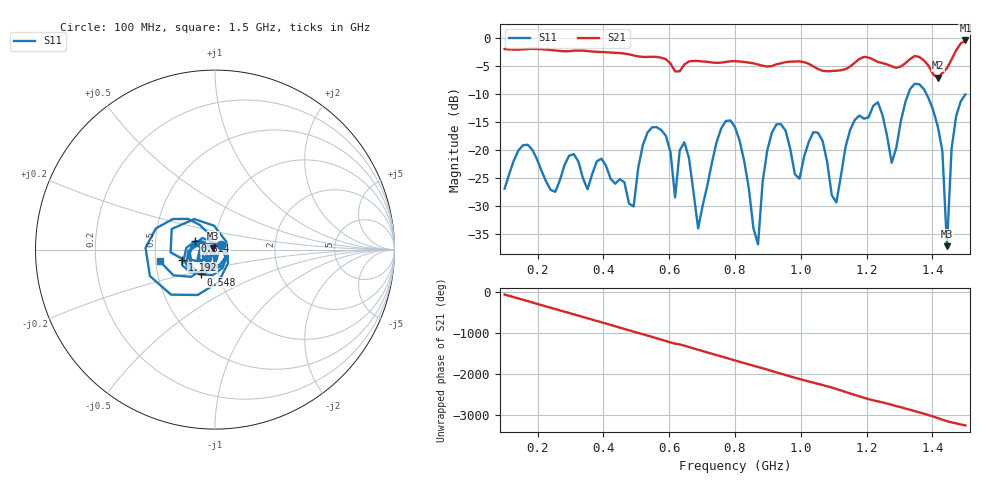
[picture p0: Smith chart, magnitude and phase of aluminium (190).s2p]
! NanoVNA-App
! Date: 2025-09-25 14:56:45
! Start: 100MHz Stop: 1,5GHz Points: 101
! S-Parameter data: F S11 S21 S12 S22
# Hz S RI R 50
!  Frequency  S11_Real  S11_Imag  S21_Real  S21_Imag  S12_Real  S12_Imag  S22_Real  S22_Imag
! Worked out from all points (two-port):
!   101 points, 100 MHz to 1.5 GHz, reference 50 ohm
!   highest |S21| = -0.39 dB at 1.5 GHz (marker M1); lowest = -7.1 dB at 1.416 GHz (marker M2)
!   |S21| within 3 dB of the highest: start of sweep to 566.7 MHz; 1.461 GHz to end of sweep (the widest 2 of 4)
!   lowest |S11| = -37.3 dB at 1.444 GHz (marker M3), VSWR 1.03, Z = 48.8 + j0.7 ohm
!   |S11| at or under -10 dB: start of sweep to 1.326 GHz; 1.382 GHz to end of sweep
!   S12 and S22 are empty: the file has one direction only
!   S11 on the Smith chart (normalised r, x): 100 MHz: 1.07, +0.06; 548 MHz: 0.82, -0.23; 814 MHz: 0.80, +0.07; 1.192 GHz: 0.69, -0.08; 1.5 GHz: 0.53, -0.08
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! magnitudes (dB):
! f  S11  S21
! 100 MHz  -27.0  -1.9
! 338 MHz  -25.1  -2.2
! 492 MHz  -30.2  -3.1
! 548 MHz  -15.9  -3.3
! 576 MHz  -16.5  -3.5
! 618 MHz  -28.5  -5.9
! 646 MHz  -18.6  -4.7
! 688 MHz  -34.1  -4.1
! 800 MHz  -15.9  -4.1
! 814 MHz  -18.3  -4.2
! 870 MHz  -37.0  -4.7
! 912 MHz  -16.9  -5.0
! 996 MHz  -25.2  -4.1
! 1.038 GHz  -16.8  -5.0
! 1.108 GHz  -29.4  -5.8
! 1.192 GHz  -14.4  -3.3
! 1.276 GHz  -22.3  -5.0
! 1.346 GHz  -8.1  -3.2
! 1.416 GHz  -15.8  -7.1
! 1.444 GHz  -37.3  -5.4
! 1.458 GHz  -19.8  -3.8
! 1.5 GHz  -10.1  -0.4
